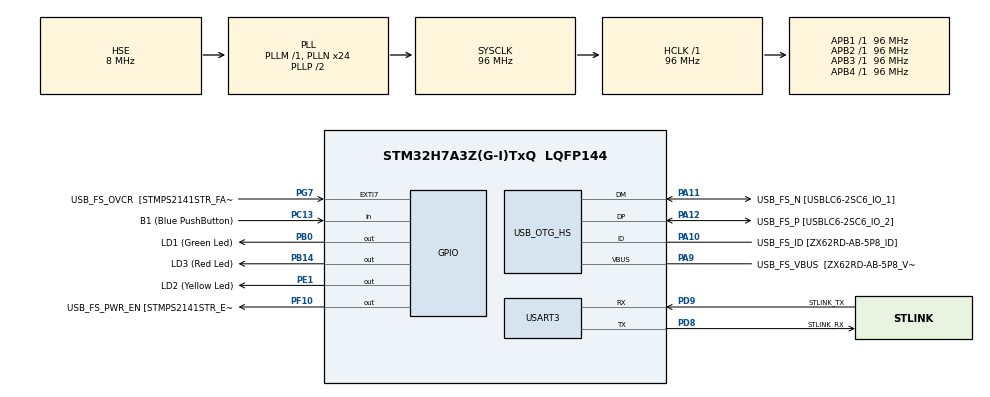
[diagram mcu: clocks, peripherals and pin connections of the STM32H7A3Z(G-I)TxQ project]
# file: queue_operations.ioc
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Mcu.Family=STM32H7
Mcu.Name=STM32H7A3Z(G-I)TxQ
Mcu.Package=LQFP144
NVIC.PriorityGroup=NVIC_PRIORITYGROUP_4
NVIC.TIM6_DAC_IRQn=true\:15\:0\:false\:false\:true\:false\:true\:true
NVIC.TimeBase=TIM6_DAC_IRQn
NVIC.TimeBaseIP=TIM6
PA10.GPIO_Label=USB_FS_ID [ZX62RD-AB-5P8_ID]
PA10.Mode=OTG/Dual-Role-Device-FS
PA10.Signal=USB_OTG_HS_ID
PA11.GPIO_Label=USB_FS_N [USBLC6-2SC6_IO_1]
PA11.Mode=OTG/Dual-Role-Device-FS
PA11.Signal=USB_OTG_HS_DM
PA12.GPIO_Label=USB_FS_P [USBLC6-2SC6_IO_2]
PA12.Mode=OTG/Dual-Role-Device-FS
PA12.Signal=USB_OTG_HS_DP
PA9.GPIO_Label=USB_FS_VBUS  [ZX62RD-AB-5P8_VBUS]
PA9.Mode=Activate_VBUS_FS
PA9.Signal=USB_OTG_HS_VBUS
PB0.GPIO_Label=LD1 (Green Led)
PB0.Signal=GPIO_Output
PB14.GPIO_Label=LD3 (Red Led)
PB14.Signal=GPIO_Output
PC13.GPIO_Label=B1 (Blue PushButton)
PC13.Signal=GPIO_Input
PC14-OSC32_IN.GPIO_Label=OSC32_IN
PC14-OSC32_IN.Mode=LSE-External-Oscillator
PC14-OSC32_IN.Signal=RCC_OSC32_IN
PC15-OSC32_OUT.GPIO_Label=OSC32_OUT
PC15-OSC32_OUT.Mode=LSE-External-Oscillator
PC15-OSC32_OUT.Signal=RCC_OSC32_OUT
PD8.GPIO_Label=STLINK_RX
PD8.Mode=Asynchronous
PD8.Signal=USART3_TX
PD9.GPIO_Label=STLINK_TX
PD9.Mode=Asynchronous
PD9.Signal=USART3_RX
PE1.GPIO_Label=LD2 (Yellow Led)
PE1.Signal=GPIO_Output
PF10.GPIO_Label=USB_FS_PWR_EN [STMPS2141STR_EN]
PF10.Signal=GPIO_Output
PG7.GPIO_Label=USB_FS_OVCR  [STMPS2141STR_FAULT]
PG7.Signal=GPXTI7
PH0-OSC_IN.GPIO_Label=PH0-MCU
PH0-OSC_IN.Mode=HSE-External-Clock-Source
PH0-OSC_IN.Signal=RCC_OSC_IN
PH1-OSC_OUT.GPIO_Label=PH1-MCU
PH1-OSC_OUT.Signal=RCC_OSC_OUT
ProjectManager.HeapSize=0x200
ProjectManager.StackSize=0x400
ProjectManager.TargetToolchain=STM32CubeIDE
RCC.ADCFreq_Value=16125000
RCC.APB1Freq_Value=96000000
RCC.APB2Freq_Value=96000000
RCC.APB3Freq_Value=96000000
RCC.APB4Freq_Value=96000000
RCC.CortexFreq_Value=96000000
RCC.DIVM1=1
RCC.DIVM3=1
RCC.DIVN1=24
RCC.DIVN3=24
RCC.DIVQ1=4
RCC.HCLKFreq_Value=96000000
RCC.HSE_VALUE=8000000
RCC.PLLFRACN=0
RCC.PLLSourceVirtual=RCC_PLLSOURCE_HSE
RCC.PWR_Regulator_Voltage_Scale=PWR_REGULATOR_VOLTAGE_SCALE0
RCC.SYSCLKFreq_VALUE=96000000
RCC.SYSCLKSource=RCC_SYSCLKSOURCE_PLLCLK
RCC.SupplySource=PWR_DIRECT_SMPS_SUPPLY
RCC.USBCLockSelection=RCC_USBCLKSOURCE_HSI48
RCC.USBFreq_Value=48000000
USART3.VirtualMode-Asynchronous=VM_ASYNC
VP_SYS_VS_tim6.Mode=TIM6
board=NUCLEO-H7A3ZI-Q

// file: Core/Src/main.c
/* USER CODE BEGIN Header */
/**
  ******************************************************************************
  * @file           : main.c
  * @brief          : Main program body
  ******************************************************************************
  * @attention
  *
  * Copyright (c) 2023 STMicroelectronics.
  * All rights reserved.
  *
  * This software is licensed under terms that can be found in the LICENSE file
  * in the root directory of this software component.
  * If no LICENSE file comes with this software, it is provided AS-IS.
  *
  ******************************************************************************
  */
/* USER CODE END Header */
#include "main.h"

/* USER CODE BEGIN Includes */
#include "FreeRTOS.h"
#include "task.h"
#include "queue.h"
#include "stdio.h"
#include "hook_function.h"
/* USER CODE END Includes */

/* USER CODE BEGIN PTD */
#define  pdMS_TO_TICKS(x) p(x)
/* USER CODE END PTD */

/* USER CODE BEGIN PD */

const TickType_t  delay_250_ms = p(250);

/* USER CODE END PD */

UART_HandleTypeDef huart3;

/* USER CODE BEGIN PV */
#define mainDelay_LOOP_COUNT 10000

TaskHandle_t task1_handle;
TaskHandle_t task2_handle;

QueueHandle_t xqueue;
/* USER CODE END PV */

void SystemClock_Config(void);
static void MX_GPIO_Init(void);
static void MX_USART3_UART_Init(void);
static void MX_USB_OTG_HS_USB_Init(void);

/* USER CODE END PFP */

/* USER CODE BEGIN 0 */

void vSenderTask(void* pvParameters){

	int32_t lValueToSend;
	BaseType_t xStatus;

	lValueToSend = ( int32_t)pvParameters;

	for( ; ;){

		xStatus = xQueueSendToBack(xqueue, &lValueToSend,0);

		if(xStatus != pdPASS){

			printf("Could not send to the queue, \r\n");
		}

	}

}

void vReceiverTask(void* pvParameters){

	int32_t receivedvalue;

	BaseType_t xstatus;
	const TickType_t xTicksToWait = pdMS_TO_TICKS( 100 );

	for( ; ;){

		if( uxQueueMessagesWaiting(xqueue) != 0)
		{
			printf("Queue should have been empty!\r\n");
		}

		xstatus = xQueueReceive(xqueue, &receivedvalue, xTicksToWait);

		if( xstatus == pdPASS){

			printf("Received = %ul \n" , receivedvalue);
		}
		else{
			printf("Could not receive from the queue.\r\n");
		}
	}

	return;

}

/* USER CODE END 0 */

int main(void)
{

  /* MCU Configuration--------------------------------------------------------*/

  /* Reset of all peripherals, Initializes the Flash interface and the Systick. */
  HAL_Init();

  /* Configure the system clock */
  SystemClock_Config();

  /* Initialize all configured peripherals */
  MX_GPIO_Init();
  MX_USART3_UART_Init();
  MX_USB_OTG_HS_USB_Init();
  /* USER CODE BEGIN 2 */

  xqueue = xQueueCreate(5, sizeof(uint32_t));

  if(xqueue == NULL){
	  Error_Handler();
  }

	configASSERT( xTaskCreate(vSenderTask, "Sender 1", 4000, (void *) 100, 1, NULL) == pdPASS);
	configASSERT( xTaskCreate(vSenderTask, "Sender 2", 4000, (void *) 200, 1,NULL) ==  pdPASS);

	configASSERT( xTaskCreate(vReceiverTask, "Task 2", 4000,NULL, 2, NULL) == pdPASS);

	vTaskStartScheduler();

  /*
   * Ticks to milliseconds conversion
   */

  /* USER CODE END 2 */

  /* Infinite loop */
  while (1)
  {

    /* USER CODE BEGIN 3 */

	  /*
	   *
	   * Code should never come to here
	   *
	   */
  }
  /* USER CODE END 3 */
}

void SystemClock_Config(void)
{
  RCC_OscInitTypeDef RCC_OscInitStruct = {0};
  RCC_ClkInitTypeDef RCC_ClkInitStruct = {0};

  /*AXI clock gating */
  RCC->CKGAENR = 0xFFFFFFFF;

  /** Supply configuration update enable
  */
  HAL_PWREx_ConfigSupply(PWR_DIRECT_SMPS_SUPPLY);

  /** Configure the main internal regulator output voltage
  */
  __HAL_PWR_VOLTAGESCALING_CONFIG(PWR_REGULATOR_VOLTAGE_SCALE0);

  while(!__HAL_PWR_GET_FLAG(PWR_FLAG_VOSRDY)) {}

  /** Initializes the RCC Oscillators according to the specified parameters
  * in the RCC_OscInitTypeDef structure.
  */
  RCC_OscInitStruct.OscillatorType = RCC_OSCILLATORTYPE_HSI48|RCC_OSCILLATORTYPE_HSE;
  RCC_OscInitStruct.HSEState = RCC_HSE_BYPASS;
  RCC_OscInitStruct.HSI48State = RCC_HSI48_ON;
  RCC_OscInitStruct.PLL.PLLState = RCC_PLL_ON;
  RCC_OscInitStruct.PLL.PLLSource = RCC_PLLSOURCE_HSE;
  RCC_OscInitStruct.PLL.PLLM = 1;
  RCC_OscInitStruct.PLL.PLLN = 24;
  RCC_OscInitStruct.PLL.PLLP = 2;
  RCC_OscInitStruct.PLL.PLLQ = 4;
  RCC_OscInitStruct.PLL.PLLR = 2;
  RCC_OscInitStruct.PLL.PLLRGE = RCC_PLL1VCIRANGE_3;
  RCC_OscInitStruct.PLL.PLLVCOSEL = RCC_PLL1VCOWIDE;
  RCC_OscInitStruct.PLL.PLLFRACN = 0;
  if (HAL_RCC_OscConfig(&RCC_OscInitStruct) != HAL_OK)
  {
    Error_Handler();
  }

  /** Initializes the CPU, AHB and APB buses clocks
  */
  RCC_ClkInitStruct.ClockType = RCC_CLOCKTYPE_HCLK|RCC_CLOCKTYPE_SYSCLK
                              |RCC_CLOCKTYPE_PCLK1|RCC_CLOCKTYPE_PCLK2
                              |RCC_CLOCKTYPE_D3PCLK1|RCC_CLOCKTYPE_D1PCLK1;
  RCC_ClkInitStruct.SYSCLKSource = RCC_SYSCLKSOURCE_PLLCLK;
  RCC_ClkInitStruct.SYSCLKDivider = RCC_SYSCLK_DIV1;
  RCC_ClkInitStruct.AHBCLKDivider = RCC_HCLK_DIV1;
  RCC_ClkInitStruct.APB3CLKDivider = RCC_APB3_DIV1;
  RCC_ClkInitStruct.APB1CLKDivider = RCC_APB1_DIV1;
  RCC_ClkInitStruct.APB2CLKDivider = RCC_APB2_DIV1;
  RCC_ClkInitStruct.APB4CLKDivider = RCC_APB4_DIV1;

  if (HAL_RCC_ClockConfig(&RCC_ClkInitStruct, FLASH_LATENCY_2) != HAL_OK)
  {
    Error_Handler();
  }
}

static void MX_USART3_UART_Init(void)
{

  huart3.Instance = USART3;
  huart3.Init.BaudRate = 115200;
  huart3.Init.WordLength = UART_WORDLENGTH_8B;
  huart3.Init.StopBits = UART_STOPBITS_1;
  huart3.Init.Parity = UART_PARITY_NONE;
  huart3.Init.Mode = UART_MODE_TX_RX;
  huart3.Init.HwFlowCtl = UART_HWCONTROL_NONE;
  huart3.Init.OverSampling = UART_OVERSAMPLING_16;
  huart3.Init.OneBitSampling = UART_ONE_BIT_SAMPLE_DISABLE;
  huart3.Init.ClockPrescaler = UART_PRESCALER_DIV1;
  huart3.AdvancedInit.AdvFeatureInit = UART_ADVFEATURE_NO_INIT;
  if (HAL_UART_Init(&huart3) != HAL_OK)
  {
    Error_Handler();
  }
  if (HAL_UARTEx_SetTxFifoThreshold(&huart3, UART_TXFIFO_THRESHOLD_1_8) != HAL_OK)
  {
    Error_Handler();
  }
  if (HAL_UARTEx_SetRxFifoThreshold(&huart3, UART_RXFIFO_THRESHOLD_1_8) != HAL_OK)
  {
    Error_Handler();
  }
  if (HAL_UARTEx_DisableFifoMode(&huart3) != HAL_OK)
  {
    Error_Handler();
  }

}

static void MX_USB_OTG_HS_USB_Init(void)
{

}

static void MX_GPIO_Init(void)
{
  GPIO_InitTypeDef GPIO_InitStruct = {0};

  /* GPIO Ports Clock Enable */
  __HAL_RCC_GPIOC_CLK_ENABLE();
  __HAL_RCC_GPIOF_CLK_ENABLE();
  __HAL_RCC_GPIOH_CLK_ENABLE();
  __HAL_RCC_GPIOB_CLK_ENABLE();
  __HAL_RCC_GPIOD_CLK_ENABLE();
  __HAL_RCC_GPIOG_CLK_ENABLE();
  __HAL_RCC_GPIOA_CLK_ENABLE();
  __HAL_RCC_GPIOE_CLK_ENABLE();

  /*Configure GPIO pin Output Level */
  HAL_GPIO_WritePin(USB_FS_PWR_EN_GPIO_Port, USB_FS_PWR_EN_Pin, GPIO_PIN_RESET);

  /*Configure GPIO pin Output Level */
  HAL_GPIO_WritePin(GPIOB, LD1_Pin|LD3_Pin, GPIO_PIN_RESET);

  /*Configure GPIO pin Output Level */
  HAL_GPIO_WritePin(LD2_GPIO_Port, LD2_Pin, GPIO_PIN_RESET);

  /*Configure GPIO pin : B1_Pin */
  GPIO_InitStruct.Pin = B1_Pin;
  GPIO_InitStruct.Mode = GPIO_MODE_INPUT;
  GPIO_InitStruct.Pull = GPIO_NOPULL;
  HAL_GPIO_Init(B1_GPIO_Port, &GPIO_InitStruct);

  /*Configure GPIO pin : USB_FS_PWR_EN_Pin */
  GPIO_InitStruct.Pin = USB_FS_PWR_EN_Pin;
  GPIO_InitStruct.Mode = GPIO_MODE_OUTPUT_PP;
  GPIO_InitStruct.Pull = GPIO_NOPULL;
  GPIO_InitStruct.Speed = GPIO_SPEED_FREQ_LOW;
  HAL_GPIO_Init(USB_FS_PWR_EN_GPIO_Port, &GPIO_InitStruct);

  /*Configure GPIO pins : LD1_Pin LD3_Pin */
  GPIO_InitStruct.Pin = LD1_Pin|LD3_Pin;
  GPIO_InitStruct.Mode = GPIO_MODE_OUTPUT_PP;
  GPIO_InitStruct.Pull = GPIO_NOPULL;
  GPIO_InitStruct.Speed = GPIO_SPEED_FREQ_LOW;
  HAL_GPIO_Init(GPIOB, &GPIO_InitStruct);

  /*Configure GPIO pin : USB_FS_OVCR_Pin */
  GPIO_InitStruct.Pin = USB_FS_OVCR_Pin;
  GPIO_InitStruct.Mode = GPIO_MODE_IT_RISING;
  GPIO_InitStruct.Pull = GPIO_NOPULL;
  HAL_GPIO_Init(USB_FS_OVCR_GPIO_Port, &GPIO_InitStruct);

  /*Configure GPIO pin : USB_FS_VBUS_Pin */
  GPIO_InitStruct.Pin = USB_FS_VBUS_Pin;
  GPIO_InitStruct.Mode = GPIO_MODE_INPUT;
  GPIO_InitStruct.Pull = GPIO_NOPULL;
  HAL_GPIO_Init(USB_FS_VBUS_GPIO_Port, &GPIO_InitStruct);

  /*Configure GPIO pin : USB_FS_ID_Pin */
  GPIO_InitStruct.Pin = USB_FS_ID_Pin;
  GPIO_InitStruct.Mode = GPIO_MODE_AF_PP;
  GPIO_InitStruct.Pull = GPIO_NOPULL;
  GPIO_InitStruct.Speed = GPIO_SPEED_FREQ_LOW;
  GPIO_InitStruct.Alternate = GPIO_AF10_OTG1_HS;
  HAL_GPIO_Init(USB_FS_ID_GPIO_Port, &GPIO_InitStruct);

  /*Configure GPIO pins : USB_FS_N_Pin USB_FS_P_Pin */
  GPIO_InitStruct.Pin = USB_FS_N_Pin|USB_FS_P_Pin;
  GPIO_InitStruct.Mode = GPIO_MODE_AF_PP;
  GPIO_InitStruct.Pull = GPIO_NOPULL;
  GPIO_InitStruct.Speed = GPIO_SPEED_FREQ_LOW;
  HAL_GPIO_Init(GPIOA, &GPIO_InitStruct);

  /*Configure GPIO pin : LD2_Pin */
  GPIO_InitStruct.Pin = LD2_Pin;
  GPIO_InitStruct.Mode = GPIO_MODE_OUTPUT_PP;
  GPIO_InitStruct.Pull = GPIO_NOPULL;
  GPIO_InitStruct.Speed = GPIO_SPEED_FREQ_LOW;
  HAL_GPIO_Init(LD2_GPIO_Port, &GPIO_InitStruct);

}

void HAL_TIM_PeriodElapsedCallback(TIM_HandleTypeDef *htim)
{
  if (htim->Instance == TIM6) {
    HAL_IncTick();
  }
}

void Error_Handler(void)
{
  __disable_irq();
  while (1)
  {
  }
}
